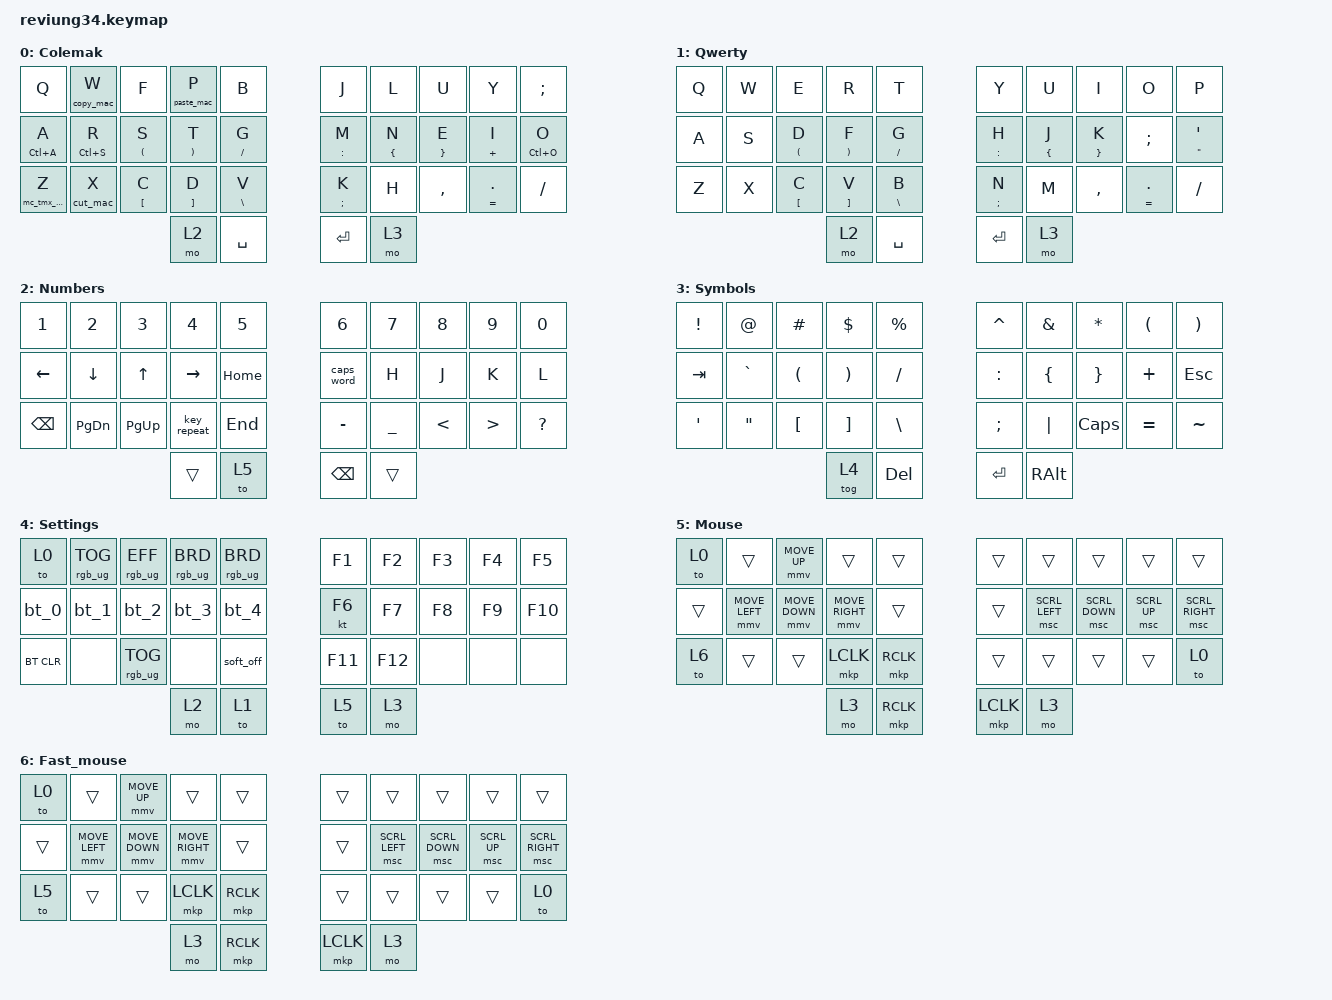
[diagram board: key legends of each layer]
/*
 * Copyright (c) 2023 The ZMK Contributors
 *
 * SPDX-License-Identifier: MIT
 */

#include <behaviors.dtsi>
#include <dt-bindings/zmk/bt.h>
#include <dt-bindings/zmk/keys.h>
#include <dt-bindings/zmk/pointing.h>
#include <dt-bindings/zmk/rgb.h>

&mt {
    tapping-term-ms = <300>;
    require-prior-idle-ms = <100>;
    flavor = "tap-preferred";
};

&mmv {
    acceleration-exponent = <2>;
    delay-ms = <0>;
};

/ {
    chosen {
        // 34 keys.

        zmk,matrix-transform = &dual_1u_transform;

        // 33 keys. Center two thumb keys replaced by a single 2u key. Remember to adjust your
        // keymap accordingly!
        // zmk,matrix-transform = &single_2u_transform;
    };
};

/ {
    macros {
        bt_0: bt_0 {
            compatible = "zmk,behavior-macro";
            #binding-cells = <0>;
            bindings = <&bt BT_SEL 0 &to 0>;
            label = "BT_0";
        };

        bt_1: bt_1 {
            compatible = "zmk,behavior-macro";
            #binding-cells = <0>;
            bindings = <&bt BT_SEL 1 &to 0>;
            label = "BT_1";
        };

        bt_2: bt_2 {
            compatible = "zmk,behavior-macro";
            #binding-cells = <0>;
            bindings = <&bt BT_SEL 2 &to 0>;
            label = "BT_2";
        };

        bt_3: bt_3 {
            compatible = "zmk,behavior-macro";
            #binding-cells = <0>;
            bindings = <&bt BT_SEL 3 &to 0>;
            label = "BT_3";
        };

        bt_4: bt_4 {
            compatible = "zmk,behavior-macro";
            #binding-cells = <0>;
            bindings = <&bt BT_SEL 4 &to 0>;
            label = "BT_4";
        };

        copy_mac: copy_mac {
            compatible = "zmk,behavior-macro";
            #binding-cells = <0>;
            bindings = <&sk LEFT_COMMAND &kp C>;
            label = "COPY_MAC";
        };

        paste_mac: paste_mac {
            compatible = "zmk,behavior-macro";
            #binding-cells = <0>;
            bindings = <&sk LEFT_COMMAND &kp V>;
            label = "PASTE_MAC";
        };

        cut_mac: cut_mac {
            compatible = "zmk,behavior-macro";
            #binding-cells = <0>;
            bindings = <&sk LEFT_COMMAND &kp X>;
            label = "CUT_MAC";
        };

        mc_tmx_scrl: mc_tmx_scrl {
            compatible = "zmk,behavior-macro";
            #binding-cells = <0>;
            bindings = <&sk LC(S) &kp LEFT_BRACKET>;
            label = "MC_TMX_SCRL";
        };
    };

    behaviors {
        skq: skq {
            compatible = "zmk,behavior-sticky-key";
            label = "SKQ";
            bindings = <&kp>;
            #binding-cells = <1>;
            release-after-ms = <1000>;
            quick-release;
        };

        ht_copy_mac: ht_copy_mac {
            compatible = "zmk,behavior-hold-tap";
            label = "HT_COPY_MAC";
            bindings = <&copy_mac>, <&kp>;

            #binding-cells = <2>;
            tapping-term-ms = <200>;
            require-prior-idle-ms = <500>;
            flavor = "tap-preferred";
        };

        ht_cut_mac: ht_cut_mac {
            compatible = "zmk,behavior-hold-tap";
            label = "HT_CUT_MAC";
            bindings = <&cut_mac>, <&kp>;

            #binding-cells = <2>;
            tapping-term-ms = <200>;
            require-prior-idle-ms = <500>;
            flavor = "tap-preferred";
        };

        ht_paste_mac: ht_paste_mac {
            compatible = "zmk,behavior-hold-tap";
            label = "HT_PASTE_MAC";
            bindings = <&paste_mac>, <&kp>;

            #binding-cells = <2>;
            tapping-term-ms = <200>;
            require-prior-idle-ms = <500>;
            flavor = "tap-preferred";
        };

        hold_tap_layer: hold_tap_layer {
            compatible = "zmk,behavior-hold-tap";
            label = "HOLD_TAP_LAYER";
            bindings = <&kp>, <&tog>;

            #binding-cells = <2>;
            tapping-term-ms = <200>;
            flavor = "hold-preferred";
        };

        ht_tmx_scrl: ht_tmx_scrl {
            compatible = "zmk,behavior-hold-tap";
            label = "HT_TMX_SCRL";
            bindings = <&mc_tmx_scrl>, <&kp>;

            #binding-cells = <2>;
            tapping-term-ms = <200>;
            require-prior-idle-ms = <200>;
            flavor = "tap-preferred";
        };
    };

    combos {
        compatible = "zmk,combos";

        Shift {
            bindings = <&skq LEFT_SHIFT>;
            key-positions = <13 12>;
            timeout-ms = <200>;
            require-prior-idle-ms = <250>;
            layers = <0 1>;
        };

        Ctrl {
            bindings = <&sk LCTRL>;
            key-positions = <12 11>;
            timeout-ms = <200>;
            require-prior-idle-ms = <250>;
            layers = <0 1>;
        };

        Alt {
            bindings = <&sk LEFT_ALT>;
            key-positions = <11 10>;
            timeout-ms = <200>;
            require-prior-idle-ms = <250>;
            layers = <0 1>;
        };

        Mod {
            bindings = <&sk LEFT_GUI>;
            key-positions = <23 22>;
            timeout-ms = <200>;
            require-prior-idle-ms = <250>;
            layers = <0 1>;
        };

        r_Shift {
            bindings = <&sk RIGHT_SHIFT>;
            key-positions = <18 19>;
            timeout-ms = <200>;
            require-prior-idle-ms = <250>;
            layers = <0 1>;
        };

        r_Ctrl {
            bindings = <&sk RCTRL>;
            key-positions = <18 17>;
            timeout-ms = <200>;
            require-prior-idle-ms = <250>;
            layers = <0 1>;
        };

        r_Alt {
            bindings = <&sk LEFT_ALT>;
            key-positions = <17 16>;
            timeout-ms = <200>;
            require-prior-idle-ms = <250>;
            layers = <0 1>;
        };

        r_Mod {
            bindings = <&sk RIGHT_GUI>;
            key-positions = <26 27>;
            timeout-ms = <200>;
            require-prior-idle-ms = <250>;
            layers = <0 1>;
        };
    };

    keymap {
        compatible = "zmk,keymap";

        colemak {
            display-name = "Colemak";
            bindings = <
&kp Q             &ht_copy_mac 0 W  &kp F                   &ht_paste_mac 0 P        &kp B              &kp J            &kp L             &kp U              &kp Y             &kp SEMI
&mt LC(A) A       &mt LC(S) R       &mt LEFT_PARENTHESIS S  &mt RIGHT_PARENTHESIS T  &mt SLASH G        &mt COLON M      &mt LEFT_BRACE N  &mt RIGHT_BRACE E  &mt PLUS I        &mt LC(O) O
&ht_tmx_scrl 0 Z  &ht_cut_mac 0 X   &mt LEFT_BRACKET C      &mt RIGHT_BRACKET D      &mt BACKSLASH V    &mt SEMICOLON K  &kp H             &kp COMMA          &mt EQUAL PERIOD  &kp SLASH
                                                            &mo 2                    &kp SPACE          &kp RET          &mo 3
            >;
        };

        Qwerty {
            display-name = "Qwerty";
            bindings = <
&kp Q  &kp W  &kp E                   &kp R                    &kp T              &kp Y            &kp U             &kp I              &kp O             &kp P
&kp A  &kp S  &mt LEFT_PARENTHESIS D  &mt RIGHT_PARENTHESIS F  &mt SLASH G        &mt COLON H      &mt LEFT_BRACE J  &mt RIGHT_BRACE K  &kp SEMICOLON     &mt DOUBLE_QUOTES SQT
&kp Z  &kp X  &mt LEFT_BRACKET C      &mt RIGHT_BRACKET V      &mt BACKSLASH B    &mt SEMICOLON N  &kp M             &kp COMMA          &mt EQUAL PERIOD  &kp SLASH
                                      &mo 2                    &kp SPACE          &kp RET          &mo 3
            >;
        };

        Numbers {
            display-name = "Numbers";
            bindings = <
&kp N1          &kp N2          &kp N3        &kp N4           &kp N5      &kp N6         &kp N7          &kp N8         &kp N9            &kp N0
&kp LEFT_ARROW  &kp DOWN_ARROW  &kp UP_ARROW  &kp RIGHT_ARROW  &kp HOME    &caps_word     &kp H           &kp J          &kp K             &kp L
&kp BACKSPACE   &kp PG_DN       &kp PG_UP     &key_repeat      &kp END     &kp MINUS      &kp UNDERSCORE  &kp LESS_THAN  &kp GREATER_THAN  &kp QUESTION
                                              &trans           &to 5       &kp BACKSPACE  &trans
            >;
        };

        Symbols {
            display-name = "Symbols";
            bindings = <
&kp EXCLAMATION  &kp AT_SIGN        &kp HASH              &kp DOLLAR             &kp PERCENT      &kp CARET      &kp AMPERSAND   &kp ASTERISK     &kp LEFT_PARENTHESIS  &kp RIGHT_PARENTHESIS
&kp TAB          &kp GRAVE          &kp LEFT_PARENTHESIS  &kp RIGHT_PARENTHESIS  &kp SLASH        &kp COLON      &kp LEFT_BRACE  &kp RIGHT_BRACE  &kp PLUS              &kp ESCAPE
&kp SQT          &kp DOUBLE_QUOTES  &kp LEFT_BRACKET      &kp RIGHT_BRACKET      &kp BACKSLASH    &kp SEMICOLON  &kp PIPE        &kp CAPSLOCK     &kp EQUAL             &kp TILDE
                                                          &tog 4                 &kp DELETE       &kp RET        &kp RIGHT_ALT
            >;
        };

        Settings {
            display-name = "Settings";
            bindings = <
&to 0       &rgb_ug RGB_TOG  &rgb_ug RGB_EFF  &rgb_ug RGB_BRD  &rgb_ug RGB_BRD    &kp F1   &kp F2   &kp F3  &kp F4  &kp F5
&bt_0       &bt_1            &bt_2            &bt_3            &bt_4              &kt F6   &kp F7   &kp F8  &kp F9  &kp F10
&bt BT_CLR  &none            &rgb_ug RGB_TOG  &none            &soft_off          &kp F11  &kp F12  &none   &none   &none
                                              &mo 2            &to 1              &to 5    &mo 3
            >;
        };

        Mouse {
            bindings = <
&to 0   &trans          &mmv MOVE_UP    &trans           &trans       &trans     &trans          &trans          &trans        &trans
&trans  &mmv MOVE_LEFT  &mmv MOVE_DOWN  &mmv MOVE_RIGHT  &trans       &trans     &msc SCRL_LEFT  &msc SCRL_DOWN  &msc SCRL_UP  &msc SCRL_RIGHT
&to 6   &trans          &trans          &mkp LCLK        &mkp RCLK    &trans     &trans          &trans          &trans        &to 0
                                        &mo 3            &mkp RCLK    &mkp LCLK  &mo 3
            >;
        };

        Fast_mouse {
            bindings = <
&to 0   &trans          &mmv MOVE_UP    &trans           &trans       &trans     &trans          &trans          &trans        &trans
&trans  &mmv MOVE_LEFT  &mmv MOVE_DOWN  &mmv MOVE_RIGHT  &trans       &trans     &msc SCRL_LEFT  &msc SCRL_DOWN  &msc SCRL_UP  &msc SCRL_RIGHT
&to 5   &trans          &trans          &mkp LCLK        &mkp RCLK    &trans     &trans          &trans          &trans        &to 0
                                        &mo 3            &mkp RCLK    &mkp LCLK  &mo 3
            >;
        };
    };
};
